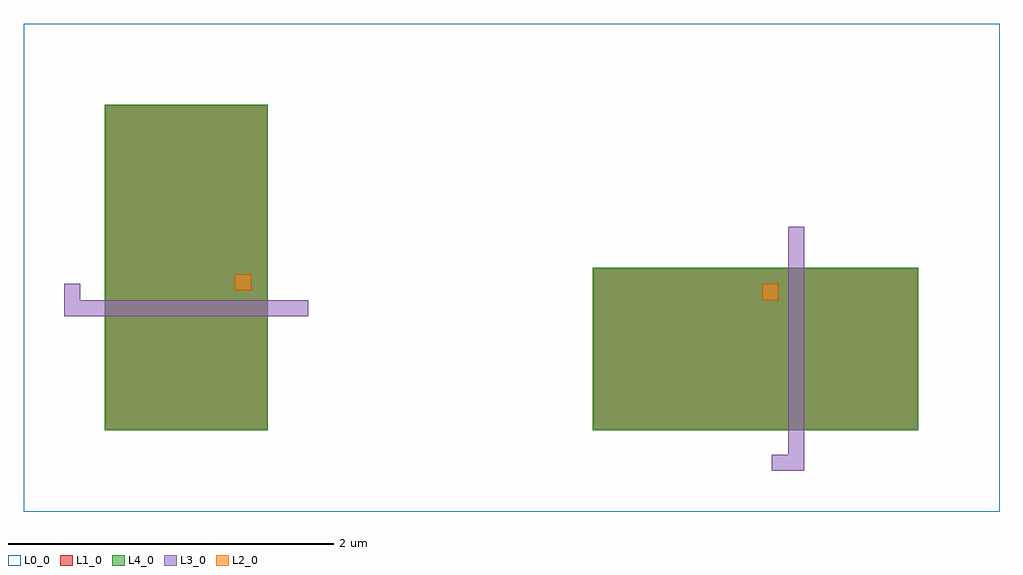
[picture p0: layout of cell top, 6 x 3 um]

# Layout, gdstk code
import gdstk
lib = gdstk.Library(unit=1e-6, precision=1e-09)
def R(c, l, rs):  # rectangles x0, y0, x1, y1
    for r in rs: c.add(gdstk.rectangle(r[:2], r[2:], *l))
def P(c, l, *ps):  # polygons
    for p in ps: c.add(gdstk.Polygon(p, *l))
L0_0 = (0, 0)
L1_0 = (1, 0)
L2_0 = (2, 0)
L3_0 = (3, 0)
L4_0 = (4, 0)

dcp1_90_0 = lib.new_cell('dcp1_90_0')
R(dcp1_90_0, L0_0, [(-3,0,0,3)])
R(dcp1_90_0, L1_0, [(-2.5,0.5,-0.5,1.5)])
R(dcp1_90_0, L2_0, [(-1.46,1.3,-1.36,1.4)])
P(dcp1_90_0, L3_0, [(-1.2,0.25),(-1.2,1.75),(-1.3,1.75),(-1.3,0.35),(-1.4,0.35),(-1.4,0.25)])
R(dcp1_90_0, L4_0, [(-2.5,0.5,-0.5,1.5)])

dcp1_0_0 = lib.new_cell('dcp1_0_0')
R(dcp1_0_0, L0_0, [(0,0,3,3)])
R(dcp1_0_0, L1_0, [(0.5,0.5,1.5,2.5)])
R(dcp1_0_0, L2_0, [(1.3,1.36,1.4,1.46)])
P(dcp1_0_0, L3_0, [(0.25,1.2),(1.75,1.2),(1.75,1.3),(0.35,1.3),(0.35,1.4),(0.25,1.4)])
R(dcp1_0_0, L4_0, [(0.5,0.5,1.5,2.5)])

top = lib.new_cell('top')
top.add(gdstk.Reference(dcp1_90_0, (6,0)))
top.add(gdstk.Reference(dcp1_0_0, (0,0)))

lib.write_gds('top.gds')
